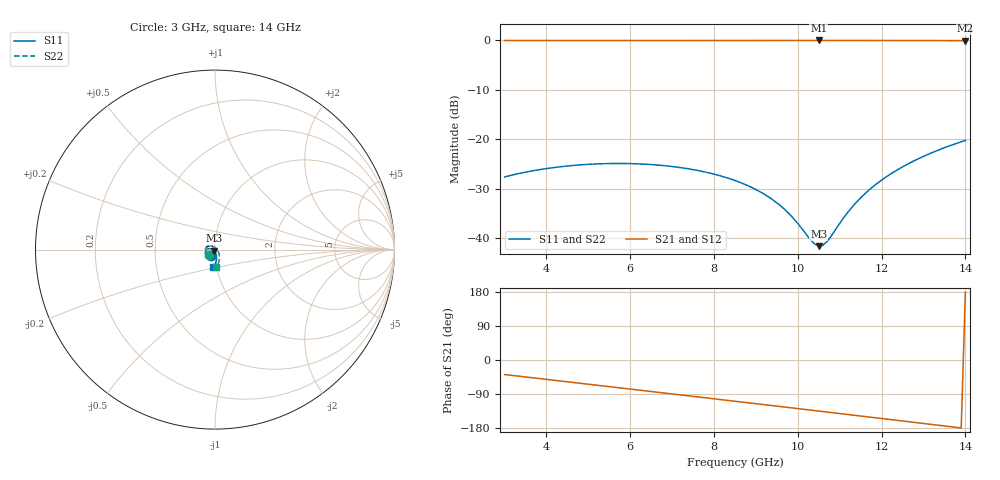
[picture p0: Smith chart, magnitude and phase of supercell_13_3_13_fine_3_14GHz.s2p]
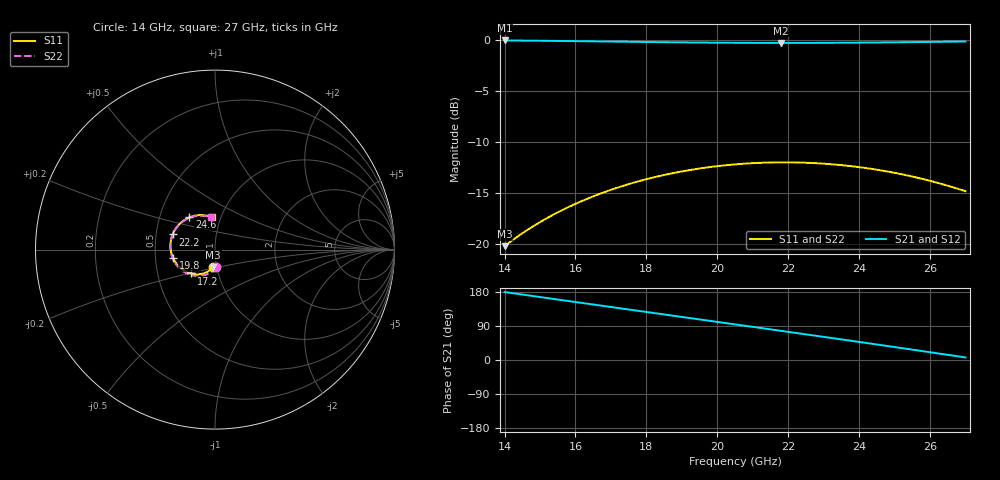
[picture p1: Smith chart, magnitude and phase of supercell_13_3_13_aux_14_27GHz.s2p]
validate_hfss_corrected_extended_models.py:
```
#!/usr/bin/env python3
"""Compare minimal and extended nonlinear models with HFSS Bloch parameters."""

from __future__ import annotations

import csv
import json
import logging
import sys
from pathlib import Path

import matplotlib

matplotlib.use("Agg")
import matplotlib.pyplot as plt
import numpy as np


ROOT = Path(__file__).resolve().parents[1]
sys.path[:0] = [str(ROOT / "code"), str(ROOT / "scripts")]

from analyze_hfss_supercell import (  # noqa: E402
    SUPERCELL_CELLS,
    read_touchstone,
)
from hfss_bloch import apply_bloch_parameters  # noqa: E402
from scan_hfss_loading_pattern import make_cell  # noqa: E402
from twpa_project_utils import gain_metrics, load_hfss_cell_parameters  # noqa: E402
from twpasolver import TWPAnalysis  # noqa: E402
from twpasolver.logger import log  # noqa: E402
from twpasolver.models import TWPA  # noqa: E402
from twpasolver.modes_rwa import ModeArrayFactory  # noqa: E402


SELECTED = {"pump_GHz": 12.94, "Idc_A": 315e-6, "Ip0_A": 310e-6}
OUTPUT_STEP = "step_15_extended_nonlinear_validation"
NEARBY_PUMPS_GHZ = (12.93, 12.94, 12.95)
MODELS = (
    ("minimal_3wm", "basic_3wm"),
    ("general_ideal", "hfss_extended"),
    ("general_loss_only", "hfss_extended"),
    ("general", "hfss_extended"),
)


def main() -> None:
    log.setLevel(logging.WARNING)
    inputs = ROOT / "hfss_inputs"
    output = ROOT / "results" / "bloch_corrected" / OUTPUT_STEP
    output.mkdir(parents=True, exist_ok=True)

    cells, provenance = load_hfss_cell_parameters(inputs / "hfss_cell_parameters.csv")
    fine_f, fine_s = read_touchstone(
        inputs / "supercell_13_3_13_fine_3_14GHz.s2p"
    )
    auxiliary_f, auxiliary_s = read_touchstone(
        inputs / "supercell_13_3_13_aux_14_27GHz.s2p"
    )
    if not np.isclose(fine_f[-1], auxiliary_f[0]):
        raise ValueError("The fine and auxiliary HFSS sweeps do not overlap.")
    if not np.allclose(fine_s[-1], auxiliary_s[0], rtol=1e-10, atol=1e-12):
        raise ValueError("The fine and auxiliary HFSS sweeps disagree at 14 GHz.")
    # Keep the shared 14 GHz point only once.  The matching complex samples make
    # it safe to unwrap S21 phase continuously across the two sweeps.
    measured_f = np.concatenate((fine_f, auxiliary_f[1:]))
    measured_s = np.concatenate((fine_s, auxiliary_s[1:]), axis=0)

    twpa = TWPA(
        cells=[
            make_cell(cells["unloaded"], 13),
            make_cell(cells["loaded"], 3),
            make_cell(cells["unloaded"], 13),
        ],
        N=int(SELECTED.get("supercell_repeats", 1407)),
        Istar=2e-3,
        Idc=SELECTED["Idc_A"],
        Ip0=SELECTED["Ip0_A"],
    )
    analysis = TWPAnalysis(twpa=twpa, f_arange=(0.2, 30.0, 0.002), unit="GHz")
    analysis.update_base_data()

    apply_bloch_parameters(
        analysis.data, measured_f, measured_s, SUPERCELL_CELLS
    )
    analysis.add_mode_array("basic_3wm", ModeArrayFactory.create_basic(analysis.data))

    # Eight forward modes: pump, signal, idler, sum-frequency conversions,
    # second pump harmonic, and second signal/idler harmonics.
    extended = ModeArrayFactory.create_extended_3wm(
        analysis.data,
        n_pump_harmonics=1,
        n_frequency_conversion=1,
        n_signal_harmonics=1,
    )
    analysis.add_mode_array("hfss_extended", extended)

    signals = np.arange(4.0, 8.0001, 0.1)
    curves: dict[str, np.ndarray] = {}
    rows: list[dict[str, object]] = []

    def solve(model: str, mode_array: str, pump: float) -> tuple[np.ndarray, dict[str, object]]:
        result = analysis.gain(
            signals,
            pump=pump,
            Is0=1.4e-6,
            Ip0=None,
            model=model,
            mode_array_config=mode_array,
            thin=300,
            save=False,
        )
        gain = np.asarray(result["gain_db"], dtype=float)
        if model == "minimal_3wm":
            pump_index = 0
        else:
            pump_index = int(result["mode_info"]["mode_map"]["p"])
        currents = np.asarray(result["I_triplets"])
        pump_exit_fraction = np.abs(
            currents[:, pump_index, -1] / SELECTED["Ip0_A"]
        ) ** 2
        metrics: dict[str, object] = {
            **gain_metrics(signals, gain, band=(4.0, 8.0)),
            "minimum_in_band_gain_db": float(np.min(gain)),
            "maximum_in_band_gain_db": float(np.max(gain)),
            "pump_exit_power_fraction_median": float(np.median(pump_exit_fraction)),
            "pump_exit_power_fraction_min": float(np.min(pump_exit_fraction)),
            "pump_exit_power_fraction_max": float(np.max(pump_exit_fraction)),
        }
        return gain, metrics

    for model, mode_array in MODELS:
        gain, metrics = solve(model, mode_array, SELECTED["pump_GHz"])
        curves[f"selected__{model}"] = gain
        rows.append(
            {
                "case": "selected",
                "pump_GHz": SELECTED["pump_GHz"],
                "Idc_A": SELECTED["Idc_A"],
                "Ip0_A": SELECTED["Ip0_A"],
                "model": model,
                **metrics,
            }
        )

    # A small pump-frequency check with the most complete available model.
    for pump in NEARBY_PUMPS_GHZ:
        gain, metrics = solve("general", "hfss_extended", pump)
        curves[f"general__pump_{pump:.2f}"] = gain
        if pump != SELECTED["pump_GHz"]:
            rows.append(
                {
                    "case": "nearby_pump",
                    "pump_GHz": pump,
                    "Idc_A": SELECTED["Idc_A"],
                    "Ip0_A": SELECTED["Ip0_A"],
                    "model": "general",
                    **metrics,
                }
            )

    # Mode ablation: identify which extra frequency family causes the smooth
    # three-frequency result to break down.  All cases are ideal here so the
    # comparison isolates nonlinear mode coupling from loss/reflection effects.
    ablation_specs = {
        "basic_3_modes": ModeArrayFactory.create_basic(analysis.data),
        "add_pump_harmonic": ModeArrayFactory.create_extended_3wm(
            analysis.data, n_pump_harmonics=1, n_frequency_conversion=0,
            n_signal_harmonics=0,
        ),
        "add_sum_conversions": ModeArrayFactory.create_extended_3wm(
            analysis.data, n_pump_harmonics=0, n_frequency_conversion=1,
            n_signal_harmonics=0,
        ),
        "add_signal_idler_harmonics": ModeArrayFactory.create_extended_3wm(
            analysis.data, n_pump_harmonics=0, n_frequency_conversion=0,
            n_signal_harmonics=1,
        ),
        "all_8_modes": extended,
    }
    ablation_rows: list[dict[str, object]] = []
    ablation_curves: dict[str, np.ndarray] = {}
    for label, mode_array_object in ablation_specs.items():
        config_name = f"ablation_{label}"
        analysis.add_mode_array(config_name, mode_array_object)
        gain, metrics = solve("general_ideal", config_name, SELECTED["pump_GHz"])
        ablation_curves[label] = gain
        ablation_rows.append(
            {
                "configuration": label,
                "mode_count": len(mode_array_object.modes),
                "included_modes": "+".join(mode_array_object.modes),
                **metrics,
            }
        )

    with (output / "01_extended_model_metrics.csv").open("w", newline="") as handle:
        writer = csv.DictWriter(handle, fieldnames=list(rows[0]))
        writer.writeheader()
        writer.writerows(rows)
    with (output / "01_extended_model_curves.csv").open("w", newline="") as handle:
        writer = csv.writer(handle)
        writer.writerow(["signal_GHz", *curves])
        writer.writerows(zip(signals, *(curves[key] for key in curves)))
    with (output / "01_mode_ablation_metrics.csv").open("w", newline="") as handle:
        writer = csv.DictWriter(handle, fieldnames=list(ablation_rows[0]))
        writer.writeheader()
        writer.writerows(ablation_rows)
    with (output / "01_mode_ablation_curves.csv").open("w", newline="") as handle:
        writer = csv.writer(handle)
        writer.writerow(["signal_GHz", *ablation_curves])
        writer.writerows(
            zip(signals, *(ablation_curves[key] for key in ablation_curves))
        )

    selected_rows = [row for row in rows if row["case"] == "selected"]
    general_selected = next(
        row for row in selected_rows if row["model"] == "general"
    )
    assessment = {
        "status": "extended_model_with_fine_3_to_27_GHz_HFSS_phase_correction",
        "operating_point": SELECTED,
        "mode_count": len(extended.modes),
        "included_modes": list(extended.modes),
        "models": {str(row["model"]): row for row in selected_rows},
        "nearby_general_model": [
            row for row in rows if row["model"] == "general"
        ],
        "ideal_mode_ablation": {
            str(row["configuration"]): row for row in ablation_rows
        },
        "general_model_nominal_pass": bool(
            float(general_selected["minimum_in_band_gain_db"]) >= 17.0
            and float(general_selected["ripple_peak_to_peak_db"]) <= 3.0
        ),
        "limitations": [
            "HFSS Bloch extraction uses 0.1 GHz samples from 3-14 GHz and 0.2 GHz samples from 14-27 GHz.",
            "Only one order of pump, signal/idler harmonics and conversion modes is included.",
            "The nonlinear model still represents the full line by repeating the simulated 13-3-13 physical supercell.",
            "Each signal frequency is solved as a separate single-tone experiment.",
        ],
        "hfss_cell_provenance": provenance,
    }
    (output / "02_extended_model_assessment.json").write_text(
        json.dumps(assessment, indent=2) + "\n"
    )

    fig, axes = plt.subplots(1, 2, figsize=(13, 5.3), sharey=True)
    ax = axes[0]
    labels = {
        "minimal_3wm": "3 frequencies",
        "general_ideal": "8 modes, ideal",
        "general_loss_only": "8 modes + loss",
        "general": "8 modes + loss/reflection",
    }
    for model, _ in MODELS:
        ax.plot(signals, curves[f"selected__{model}"], label=labels[model])
    ax.axhline(17, color="k", linestyle=":", label="17 dB minimum")
    ax.set(
        xlabel="Signal frequency (GHz)",
        ylabel="Predicted gain (dB)",
        title="What changes as more physics is included",
    )
    ax.grid(True, alpha=0.3)
    ax.legend(fontsize=8)

    ax = axes[1]
    for pump in NEARBY_PUMPS_GHZ:
        ax.plot(
            signals,
            curves[f"general__pump_{pump:.2f}"],
            label=f"pump {pump:.2f} GHz",
        )
    ax.axhline(17, color="k", linestyle=":", label="17 dB minimum")
    ax.set(
        xlabel="Signal frequency (GHz)",
        title="Complete-model sensitivity to pump frequency",
    )
    ax.grid(True, alpha=0.3)
    ax.legend(fontsize=8)

    fig.suptitle(
        "HFSS-corrected extended nonlinear validation\n"
        "Idc 315 µA, pump current 310 µA",
        fontsize=13,
    )
    fig.tight_layout()
    fig.savefig(output / "03_extended_nonlinear_validation.png", dpi=180)
    fig.savefig(output / "03_extended_nonlinear_validation.pdf")
    plt.close(fig)

    fig, ax = plt.subplots(figsize=(9, 5.3))
    for label, gain in ablation_curves.items():
        ax.plot(signals, gain, label=label.replace("_", " "))
    ax.axhline(17, color="k", linestyle=":", label="17 dB minimum")
    ax.set(
        xlabel="Signal frequency (GHz)",
        ylabel="Predicted gain (dB)",
        title="Ideal-model mode ablation at 12.94 GHz",
    )
    ax.grid(True, alpha=0.3)
    ax.legend(fontsize=8)
    fig.tight_layout()
    fig.savefig(output / "04_mode_ablation.png", dpi=180)
    fig.savefig(output / "04_mode_ablation.pdf")
    plt.close(fig)

    print(json.dumps(assessment, indent=2))


if __name__ == "__main__":
    main()
```
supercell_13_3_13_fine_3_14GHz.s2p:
! Touchstone file exported from HFSS 2026.1.0
!  File:  C:/Users/urbaneja/Ansys/13-3-3_super_cell.aedt
!  Generated:  09:21:28 AM Aug 12, 2026
!  Design:  HFSSDesign_Supercell_13_3_13
!  Project:  13-3-3_super_cell
!  Setup:  Setup1
!  Solution:  Sweep_fine_3_14GHz
! Variables:
!  stub_length = 12um
# GHz S MA R 50.000000
! Terminal data exported
! Port[1] = Port1
! Port[2] = Port2
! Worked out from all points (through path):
!   111 points, 3 GHz to 14 GHz, reference 50 ohm
!   highest |S21| = 0.00 dB at 10.5 GHz (marker M1); lowest = 0.0 dB at 14 GHz (marker M2)
!   group delay of S21, straight-line fit = 35.9 ps
!   lowest |S11| = -41.6 dB at 10.5 GHz (marker M3), VSWR 1.02, Z = 49.4 - j0.544 ohm
!   |S11| at or under -10 dB: start of sweep to end of sweep
!   |S22| runs from -41.6 to -20.2 dB; largest |S21 - S12| = 5.2e-05
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3  0.04161 -118.1  0.9991 -38.4  0.9991 -38.4  0.04161 -138.6
! Gamma 1.90211625812809E-31 2682.20511504638 1.71196688575315E-31 2578.88136852733
! Port Impedance 50 0 50 0
4.4  0.05308 -138.1  0.9986 -56.3  0.9986 -56.3  0.05308 -154.4
5.8  0.05689 -156.5  0.9984 -74.2  0.9984 -74.2  0.05689 -171.9
7.3  0.05092 -174.6  0.9987 -93.4  0.9987 -93.4  0.05092 167.7
8.5  0.03824 173.2  0.9993 -108.9  0.9993 -108.9  0.03824 149.1
9.5  0.02273 169.2  0.9997 -121.8  0.9997 -121.8  0.02273 127.2
10.5  0.008282 -138.3  1 -134.8  1 -134.8  0.008282 48.7
10.7  0.009261 -110.9  1 -137.4  1 -137.4  0.009261 16.1
11.4  0.02309 -77.8  0.9997 -146.5  0.9997 -146.5  0.02309 -35.3
12  0.03862 -77.0  0.9993 -154.4  0.9993 -154.4  0.03862 -51.8
14  0.09729 -95.6  0.9952 179.3  0.9953 179.3  0.09729 -85.7
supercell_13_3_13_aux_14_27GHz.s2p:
! Touchstone file exported from HFSS 2026.1.0
!  File:  C:/Users/urbaneja/Ansys/13-3-3_super_cell.aedt
!  Generated:  09:22:44 AM Aug 12, 2026
!  Design:  HFSSDesign_Supercell_13_3_13
!  Project:  13-3-3_super_cell
!  Setup:  Setup1
!  Solution:  Sweep_aux_14_27GHz
! Variables:
!  stub_length = 12um
# GHz S MA R 50.000000
! Terminal data exported
! Port[1] = Port1
! Port[2] = Port2
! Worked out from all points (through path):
!   66 points, 14 GHz to 27 GHz, reference 50 ohm
!   highest |S21| = -0.04 dB at 14 GHz (marker M1); lowest = -0.3 dB at 21.8 GHz (marker M2)
!   group delay of S21, straight-line fit = 36.7 ps
!   lowest |S11| = -20.2 dB at 14 GHz (marker M3), VSWR 1.22, Z = 48.1 - j9.41 ohm
!   |S11| at or under -10 dB: start of sweep to end of sweep
!   |S22| runs from -20.2 to -12.0 dB; largest |S21 - S12| = 0.00016
!   S11 on the Smith chart (normalised r, x): 14 GHz: 0.96, -0.19; 17.2 GHz: 0.74, -0.20; 19.8 GHz: 0.62, -0.06; 22.2 GHz: 0.61, +0.11; 24.6 GHz: 0.71, +0.27; 27 GHz: 0.91, +0.34
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14  0.09729 -95.6  0.9952 179.3  0.9953 179.3  0.09729 -85.7
! Gamma 0 12516.9952816227 0 12034.8092072632
! Port Impedance 50 0 50 0
15.6  0.1455 -115.0  0.9894 158.2  0.9894 158.2  0.1455 -108.5
17.2  0.1889 -135.2  0.982 137.2  0.982 137.2  0.1889 -130.4
18.6  0.2194 -153.1  0.9756 118.9  0.9756 118.9  0.2194 -149.2
19.8  0.238 -168.5  0.9713 103.2  0.9713 103.2  0.238 -165.2
20.6  0.246 -178.9  0.9693 92.7  0.9693 92.7  0.246 -175.8
21.8  0.2509 165.5  0.968 76.9  0.968 76.9  0.2509 168.3
22.2  0.2506 160.3  0.9681 71.6  0.9681 71.6  0.2506 163.0
24.6  0.2294 128.5  0.9733 39.6  0.9733 39.6  0.2294 130.8
25.8  0.2078 112.2  0.9782 23.3  0.9782 23.3  0.2078 114.4
27  0.1811 95.6  0.9834 6.7  0.9835 6.7  0.1811 97.8
